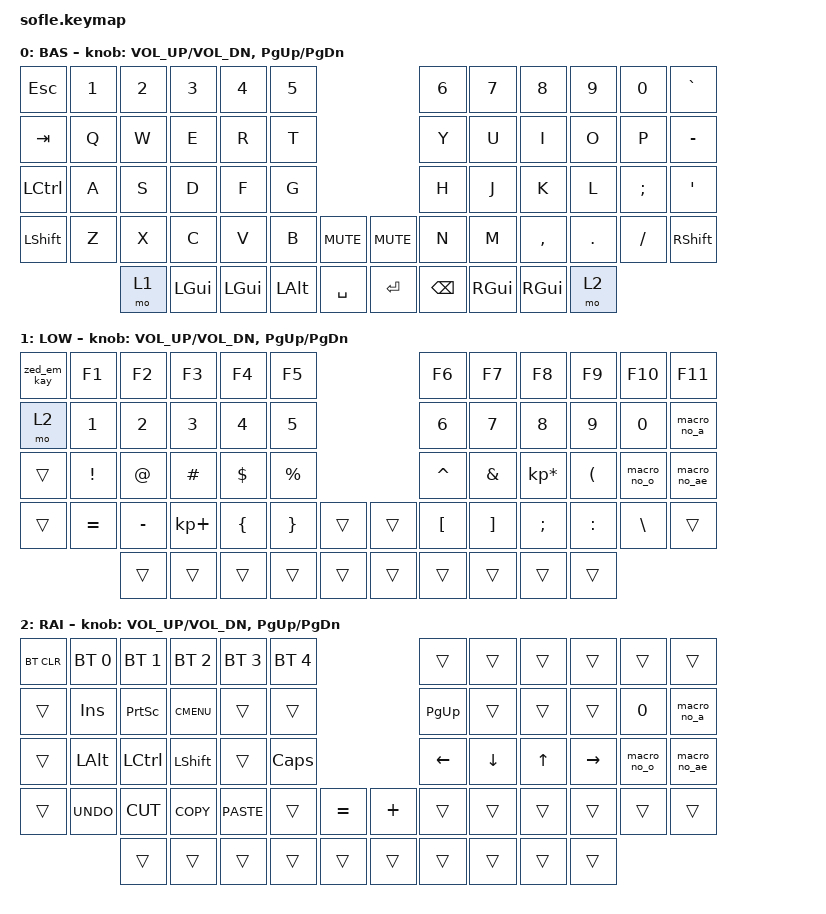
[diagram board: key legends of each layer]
/*
 * Copyright (c) 2020 The ZMK Contributors
 *
 * SPDX-License-Identifier: MIT
 */

#include <behaviors.dtsi>
#include <dt-bindings/zmk/bt.h>
#include <dt-bindings/zmk/ext_power.h>
#include <dt-bindings/zmk/keys.h>

/ {
    behaviors {
        hm: homerow_mods {
            compatible = "zmk,behavior-hold-tap";
            #binding-cells = <2>;
            tapping-term-ms = <200>;
            quick-tap-ms = <200>;
            require-prior-idle-ms = <300>;
            flavor = "tap-preferred";
            bindings = <&kp>, <&kp>;
        };
    };

    macros {
        zed_em_kay: zed_em_kay {
            compatible = "zmk,behavior-macro";
            #binding-cells = <0>;
            bindings
                = <&macro_press &kp LSHFT>
                , <&macro_tap &kp Z &kp M &kp K>
                , <&macro_release &kp LSHFT>
                ;
        };
        macro_no_o: macro_no_o {
            compatible = "zmk,behavior-macro";
            #binding-cells = <0>;
            bindings
                = <&macro_press &kp RCTRL>
                , <&macro_tap &kp FSLH &kp O>
                , <&macro_release &kp RCTRL>
                ;
        };
        macro_no_a: macro_no_a {
            compatible = "zmk,behavior-macro";
            #binding-cells = <0>;
            bindings
                = <&macro_press &kp RCTRL>
                , <&macro_tap &kp O &kp A>
                , <&macro_release &kp RCTRL>
                ;
        };
        macro_no_ae: macro_no_ae {
            compatible = "zmk,behavior-macro";
            #binding-cells = <0>;
            bindings
                = <&macro_press &kp RCTRL>
                , <&macro_tap &kp A &kp E>
                , <&macro_release &kp RCTRL>
                ;
        };
    };
    keymap {
        compatible = "zmk,keymap";

        default_layer {
            display-name = "BAS";
            // ------------------------------------------------------------------------------------------------------------
            // |  `    |  1  |  2  |  3   |  4   |  5   |                   |  6   |  7    |  8    |  9   |   0   |       |
            // |  ESC  |  Q  |  W  |  E   |  R   |  T   |                   |  Y   |  U    |  I    |  O   |   P   | BKSPC |
            // |  TAB  |  A  |  S  |  D   |  F   |  G   |                   |  H   |  J    |  K    |  L   |   ;   |   '   |
            // | SHIFT |  Z  |  X  |  C   |  V   |  B   |  MUTE  |  |       |  N   |  M    |  ,    |  .   |   /   | SHIFT |
            //               | GUI | ALT  | CTRL | LOWER|  ENTER |  | SPACE | RAISE| CTRL  | ALT   | GUI  |

            bindings = <
&kp ESC  &kp N1  &kp N2    &kp N3    &kp N4     &kp N5                                   &kp N6  &kp N7     &kp N8     &kp N9    &kp N0    &kp GRAVE
&kp TAB    &kp Q   &kp W     &kp E     &kp R      &kp T                                    &kp Y   &kp U      &kp I      &kp O     &kp P     &kp MINUS
&kp LCTRL  &kp A   &kp S     &kp D     &kp F      &kp G                                    &kp H   &kp J      &kp K      &kp L     &kp SEMI  &kp SQT
&kp LSHFT  &kp Z   &kp X     &kp C     &kp V      &kp B   &kp C_MUTE    &kp C_MUTE  &kp N   &kp M      &kp COMMA  &kp DOT   &kp FSLH  &kp RSHFT
                   &mo 1  &kp LGUI  &kp LGUI  &kp LALT   &kp SPACE       &kp RET          &kp BSPC   &kp RGUI  &kp RGUI   &mo 2
            >;

            sensor-bindings = <&inc_dec_kp C_VOL_UP C_VOL_DN &inc_dec_kp PG_UP PG_DN>;
        };

        lower_layer {
            display-name = "LOW";
            // ------------------------------------------------------------------------------------------------------------
            // | `     |  F1 |  F2 |  F3  |  F4  |  F5  |                   |  F6  |  F7   |  F8   |  F9  |  F10  |  F11  |
            // | RAISE |   1 |   2 |   3  |   4  |   5  |                   |   6  |   7   |   8   |   9  |    0  |  F12  |
            // |       |  !  |  @  |  #   |  $   |  %   |                   |  ^   |  &    |  *    |  (   |   )   |   |   |
            // |       |  =  |  -  |  +   |  {   |  }   |        |  |       |  [   |  ]    |  ;    |  :   |   \   |       |
            //               |     |      |      |      |        |  |       |      |       |       |      |

            bindings = <
&zed_em_kay  &kp F1     &kp F2     &kp F3       &kp F4    &kp F5                       &kp F6     &kp F7    &kp F8           &kp F9     &kp F10   &kp F11
&mo 2      &kp N1     &kp N2     &kp N3       &kp N4    &kp N5                       &kp N6     &kp N7    &kp N8           &kp N9     &kp N0    &macro_no_a
&trans     &kp EXCL   &kp AT     &kp HASH     &kp DLLR  &kp PRCNT                    &kp CARET  &kp AMPS  &kp KP_MULTIPLY  &kp LPAR   &macro_no_o  &macro_no_ae
&trans     &kp EQUAL  &kp MINUS  &kp KP_PLUS  &kp LBRC  &kp RBRC   &trans    &trans  &kp LBKT   &kp RBKT  &kp SEMI         &kp COLON  &kp BSLH  &trans
                      &trans     &trans       &trans    &trans     &trans    &trans  &trans     &trans    &trans           &trans
            >;

            sensor-bindings = <&inc_dec_kp C_VOL_UP C_VOL_DN &inc_dec_kp PG_UP PG_DN>;
        };

        raise_layer {
            display-name = "RAI";
            // ------------------------------------------------------------------------------------------------------------
            // |BTCLR| BT1  | BT2  |  BT3  |  BT4  |  BT5 |                |      |      |       |      |       |       |
            // |     | INS  | PSCR | GUI   |       |      |                | PGUP |      |       |      |       |       |
            // |     | ALT  | CTRL | SHIFT |       | CAPS |                |  <-  |   v  |   ^   |  ->  |  DEL  | BKSPC |
            // |     | UNDO | CUT  | COPY  | PASTE |      |      |  |      |      |      |       |      |       |       |
            //              |      |       |       |      |      |  |      |      |      |       |      |

            bindings = <
&bt BT_CLR  &bt BT_SEL 0  &bt BT_SEL 1  &bt BT_SEL 2  &bt BT_SEL 3  &bt BT_SEL 4                    &trans     &trans    &trans  &trans     &trans   &trans
&trans      &kp INS       &kp PSCRN     &kp K_CMENU   &trans        &trans                          &kp PG_UP  &trans    &trans  &trans     &kp N0   &macro_no_a
&trans      &kp LALT      &kp LCTRL     &kp LSHFT     &trans        &kp CLCK                        &kp LEFT   &kp DOWN  &kp UP  &kp RIGHT  &macro_no_o  &macro_no_ae
&trans      &kp K_UNDO    &kp K_CUT     &kp K_COPY    &kp K_PASTE   &trans        &kp EQUAL   &kp PLUS   &trans     &trans    &trans  &trans     &trans   &trans
                          &trans        &trans        &trans        &trans        &trans    &trans  &trans     &trans    &trans  &trans
            >;

            sensor-bindings = <&inc_dec_kp C_VOL_UP C_VOL_DN &inc_dec_kp PG_UP PG_DN>;
        };
    };
};
